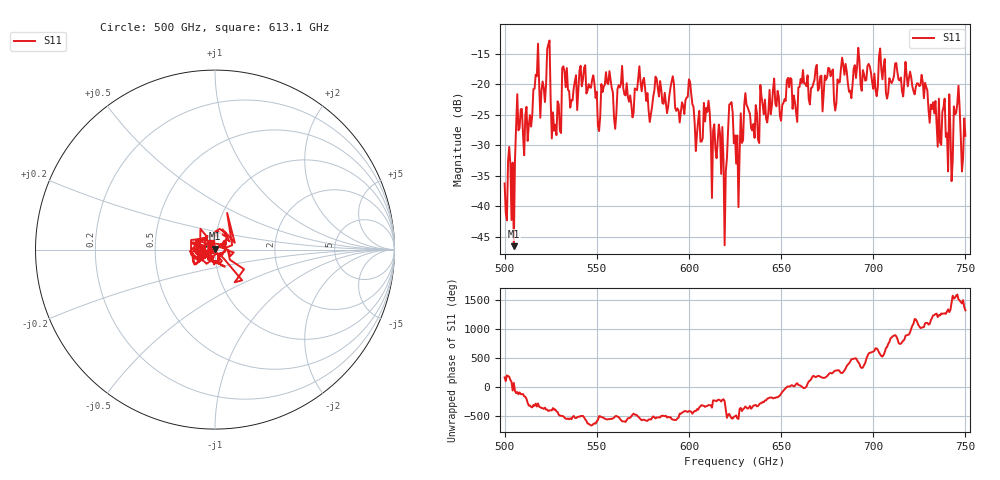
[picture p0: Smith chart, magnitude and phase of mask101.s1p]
!Created with skrf (http://scikit-rf.org).
# GHz S MA R 50.0
!freq magS11 angS11
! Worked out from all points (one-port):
!   401 points, 500 GHz to 750 GHz, reference 50 ohm
!   lowest |S11| = -46.5 dB at 505 GHz (marker M1), VSWR 1.01, Z = 50.2 + j0.43 ohm
!   |S11| at or under -10 dB: start of sweep to end of sweep
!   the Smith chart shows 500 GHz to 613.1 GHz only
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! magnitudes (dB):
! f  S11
! 500 GHz  -36.2
! 505 GHz  -46.5
! 507.5 GHz  -27.5
! 513.8 GHz  -25.1
! 516.9 GHz  -18.4
! 520.6 GHz  -19.5
! 523.8 GHz  -13.4
! 526.9 GHz  -27.6
! 531.2 GHz  -17.4
! 542.5 GHz  -19.2
! 550.6 GHz  -26.8
! 562.5 GHz  -20.5
! 593.8 GHz  -23.9
! 609.4 GHz  -23.9
! 618.8 GHz  -32.4
! 622.5 GHz  -23.2
! 625 GHz  -28.4
! 628.1 GHz  -24.8
! 631.2 GHz  -23.3
! 636.9 GHz  -24.6
! 656.2 GHz  -24.0
! 683.8 GHz  -16.9
! 687.5 GHz  -21.1
! 691.2 GHz  -17.1
! 718.8 GHz  -20.3
! 741.9 GHz  -27.6
! 745 GHz  -24.7
! 750 GHz  -28.4
